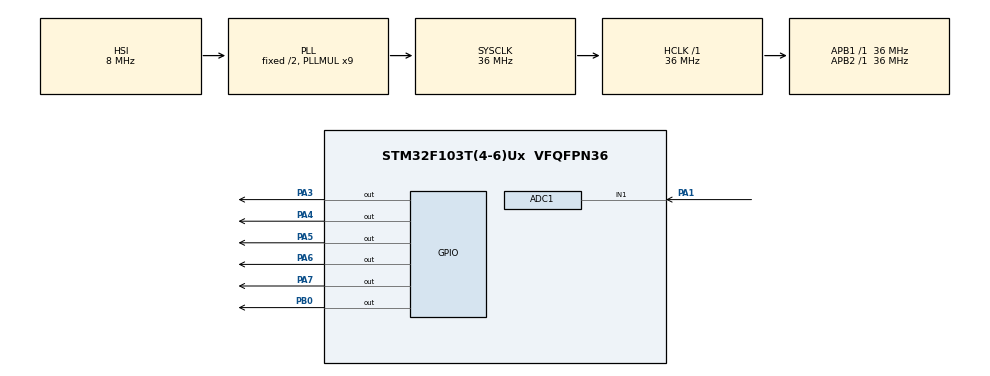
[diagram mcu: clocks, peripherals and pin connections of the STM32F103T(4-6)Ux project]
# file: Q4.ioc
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ADC1.Channel-0\#ChannelRegularConversion=ADC_CHANNEL_1
ADC1.NbrOfConversionFlag=1
ADC1.Rank-0\#ChannelRegularConversion=1
ADC1.SamplingTime-0\#ChannelRegularConversion=ADC_SAMPLETIME_1CYCLE_5
ADC1.master=1
Mcu.Family=STM32F1
Mcu.Name=STM32F103T(4-6)Ux
Mcu.Package=VFQFPN36
NVIC.PriorityGroup=NVIC_PRIORITYGROUP_4
PA1.Signal=ADCx_IN1
PA3.Signal=GPIO_Output
PA4.Signal=GPIO_Output
PA5.Signal=GPIO_Output
PA6.Signal=GPIO_Output
PA7.Signal=GPIO_Output
PB0.Signal=GPIO_Output
ProjectManager.HeapSize=0x200
ProjectManager.StackSize=0x400
ProjectManager.TargetToolchain=STM32CubeIDE
RCC.ADCPresc=RCC_ADCPCLK2_DIV4
RCC.AHBFreq_Value=36000000
RCC.APB1Freq_Value=36000000
RCC.APB1TimFreq_Value=36000000
RCC.APB2Freq_Value=36000000
RCC.APB2TimFreq_Value=36000000
RCC.HCLKFreq_Value=36000000
RCC.PLLMUL=RCC_PLL_MUL9
RCC.SYSCLKFreq_VALUE=36000000
RCC.SYSCLKSource=RCC_SYSCLKSOURCE_PLLCLK
RCC.USBFreq_Value=36000000
SH.ADCx_IN1.0=ADC1_IN1,IN1
VP_SYS_VS_ND.Mode=No_Debug
board=custom

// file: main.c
/* USER CODE BEGIN Header */
/**
  ******************************************************************************
  * @file           : main.c
  * @brief          : Main program body
  ******************************************************************************
  * @attention
  *
  * Copyright (c) 2026 STMicroelectronics.
  * All rights reserved.
  *
  * This software is licensed under terms that can be found in the LICENSE file
  * in the root directory of this software component.
  * If no LICENSE file comes with this software, it is provided AS-IS.
  *
  ******************************************************************************
  */
/* USER CODE END Header */
#include "main.h"
#include "lcd.h"
#include <stdio.h>

ADC_HandleTypeDef hadc1;

/* USER CODE BEGIN PV */
Lcd_PortType port[] = {GPIOA, GPIOA, GPIOA, GPIOA};
Lcd_PinType pin[] = {GPIO_PIN_3, GPIO_PIN_4, GPIO_PIN_5, GPIO_PIN_6};
Lcd_PortType rsPort = GPIOA;
Lcd_PinType rsPin = GPIO_PIN_7;
Lcd_PortType ePort = GPIOB;
Lcd_PinType ePin = GPIO_PIN_0;
Lcd_HandleTypeDef lcd;

uint32_t adcValue = 0;
float sensorVoltage = 0.0;
char sensorName[16];
char unit[8];
float physicalValue = 0.0;
/* USER CODE END PV */

void SystemClock_Config(void);
static void MX_GPIO_Init(void);
static void MX_ADC1_Init(void);

int main(void)
{

  /* MCU Configuration--------------------------------------------------------*/

  /* Reset of all peripherals, Initializes the Flash interface and the Systick. */
  HAL_Init();

  /* Configure the system clock */
  SystemClock_Config();

  /* Initialize all configured peripherals */
  MX_GPIO_Init();
  MX_ADC1_Init();
  /* USER CODE BEGIN 2 */
  lcd = Lcd_create(port, pin, rsPort, rsPin, ePort, ePin, LCD_4_BIT_MODE);
  HAL_Delay(100);
  Lcd_init(&lcd);
  /* USER CODE END 2 */

  /* Infinite loop */
  /* USER CODE BEGIN WHILE */
  while (1)
  {
	  HAL_ADC_Start(&hadc1);
	  if (HAL_ADC_PollForConversion(&hadc1, 10) == HAL_OK) {
	      adcValue = HAL_ADC_GetValue(&hadc1);
	      sensorVoltage = (adcValue * 3.3f) / 4095.0f;
	  }
	  HAL_ADC_Stop(&hadc1);

	  if (sensorVoltage >= 0.0f && sensorVoltage < 1.0f) {
	      sprintf(sensorName, "Temp: LM35");
	      physicalValue = 100.0f * sensorVoltage;
	      sprintf(unit, "C");
	  } else if (sensorVoltage >= 1.0f && sensorVoltage < 2.0f) {
	      sprintf(sensorName, "Hum: HIH-4000");
	      physicalValue = 33.3f * sensorVoltage;
	      sprintf(unit, "%%");
	  } else if (sensorVoltage >= 2.0f && sensorVoltage < 3.0f) {
	      sprintf(sensorName, "Pres: MPX4115");
	      physicalValue = 100.0f * sensorVoltage;
	      sprintf(unit, "hPa");
	  } else if (sensorVoltage >= 3.0f && sensorVoltage <= 3.3f) {
	      sprintf(sensorName, "Air: MQ-135");
	      physicalValue = 100.0f * (sensorVoltage / 3.3f);
	      sprintf(unit, "%%");
	  }

	  char line1[24];
	  char line2[24];

	  sprintf(line1, "%-16s", sensorName);
	  sprintf(line2, "Val: %.2f %s   ", physicalValue, unit);

	  Lcd_cursor(&lcd, 0, 0);
	  Lcd_string(&lcd, line1);
	  Lcd_cursor(&lcd, 1, 0);
	  Lcd_string(&lcd, line2);

	  HAL_Delay(100);
    /* USER CODE END WHILE */

  }
}

void SystemClock_Config(void)
{
  RCC_OscInitTypeDef RCC_OscInitStruct = {0};
  RCC_ClkInitTypeDef RCC_ClkInitStruct = {0};
  RCC_PeriphCLKInitTypeDef PeriphClkInit = {0};

  /** Initializes the RCC Oscillators according to the specified parameters
  * in the RCC_OscInitTypeDef structure.
  */
  RCC_OscInitStruct.OscillatorType = RCC_OSCILLATORTYPE_HSI;
  RCC_OscInitStruct.HSIState = RCC_HSI_ON;
  RCC_OscInitStruct.HSICalibrationValue = RCC_HSICALIBRATION_DEFAULT;
  RCC_OscInitStruct.PLL.PLLState = RCC_PLL_ON;
  RCC_OscInitStruct.PLL.PLLSource = RCC_PLLSOURCE_HSI_DIV2;
  RCC_OscInitStruct.PLL.PLLMUL = RCC_PLL_MUL9;
  if (HAL_RCC_OscConfig(&RCC_OscInitStruct) != HAL_OK)
  {
    Error_Handler();
  }

  /** Initializes the CPU, AHB and APB buses clocks
  */
  RCC_ClkInitStruct.ClockType = RCC_CLOCKTYPE_HCLK|RCC_CLOCKTYPE_SYSCLK
                              |RCC_CLOCKTYPE_PCLK1|RCC_CLOCKTYPE_PCLK2;
  RCC_ClkInitStruct.SYSCLKSource = RCC_SYSCLKSOURCE_PLLCLK;
  RCC_ClkInitStruct.AHBCLKDivider = RCC_SYSCLK_DIV1;
  RCC_ClkInitStruct.APB1CLKDivider = RCC_HCLK_DIV1;
  RCC_ClkInitStruct.APB2CLKDivider = RCC_HCLK_DIV1;

  if (HAL_RCC_ClockConfig(&RCC_ClkInitStruct, FLASH_LATENCY_1) != HAL_OK)
  {
    Error_Handler();
  }
  PeriphClkInit.PeriphClockSelection = RCC_PERIPHCLK_ADC;
  PeriphClkInit.AdcClockSelection = RCC_ADCPCLK2_DIV4;
  if (HAL_RCCEx_PeriphCLKConfig(&PeriphClkInit) != HAL_OK)
  {
    Error_Handler();
  }
}

static void MX_ADC1_Init(void)
{

  ADC_ChannelConfTypeDef sConfig = {0};

  /** Common config
  */
  hadc1.Instance = ADC1;
  hadc1.Init.ScanConvMode = ADC_SCAN_DISABLE;
  hadc1.Init.ContinuousConvMode = DISABLE;
  hadc1.Init.DiscontinuousConvMode = DISABLE;
  hadc1.Init.ExternalTrigConv = ADC_SOFTWARE_START;
  hadc1.Init.DataAlign = ADC_DATAALIGN_RIGHT;
  hadc1.Init.NbrOfConversion = 1;
  if (HAL_ADC_Init(&hadc1) != HAL_OK)
  {
    Error_Handler();
  }

  /** Configure Regular Channel
  */
  sConfig.Channel = ADC_CHANNEL_1;
  sConfig.Rank = ADC_REGULAR_RANK_1;
  sConfig.SamplingTime = ADC_SAMPLETIME_1CYCLE_5;
  if (HAL_ADC_ConfigChannel(&hadc1, &sConfig) != HAL_OK)
  {
    Error_Handler();
  }

}

static void MX_GPIO_Init(void)
{
  GPIO_InitTypeDef GPIO_InitStruct = {0};

  /* GPIO Ports Clock Enable */
  __HAL_RCC_GPIOA_CLK_ENABLE();
  __HAL_RCC_GPIOB_CLK_ENABLE();

  /*Configure GPIO pin Output Level */
  HAL_GPIO_WritePin(GPIOA, GPIO_PIN_3|GPIO_PIN_4|GPIO_PIN_5|GPIO_PIN_6
                          |GPIO_PIN_7, GPIO_PIN_RESET);

  /*Configure GPIO pin Output Level */
  HAL_GPIO_WritePin(GPIOB, GPIO_PIN_0, GPIO_PIN_RESET);

  /*Configure GPIO pins : PA3 PA4 PA5 PA6
                           PA7 */
  GPIO_InitStruct.Pin = GPIO_PIN_3|GPIO_PIN_4|GPIO_PIN_5|GPIO_PIN_6
                          |GPIO_PIN_7;
  GPIO_InitStruct.Mode = GPIO_MODE_OUTPUT_PP;
  GPIO_InitStruct.Pull = GPIO_NOPULL;
  GPIO_InitStruct.Speed = GPIO_SPEED_FREQ_LOW;
  HAL_GPIO_Init(GPIOA, &GPIO_InitStruct);

  /*Configure GPIO pin : PB0 */
  GPIO_InitStruct.Pin = GPIO_PIN_0;
  GPIO_InitStruct.Mode = GPIO_MODE_OUTPUT_PP;
  GPIO_InitStruct.Pull = GPIO_NOPULL;
  GPIO_InitStruct.Speed = GPIO_SPEED_FREQ_LOW;
  HAL_GPIO_Init(GPIOB, &GPIO_InitStruct);

}

void Error_Handler(void)
{
  __disable_irq();
  while (1)
  {
  }
}
